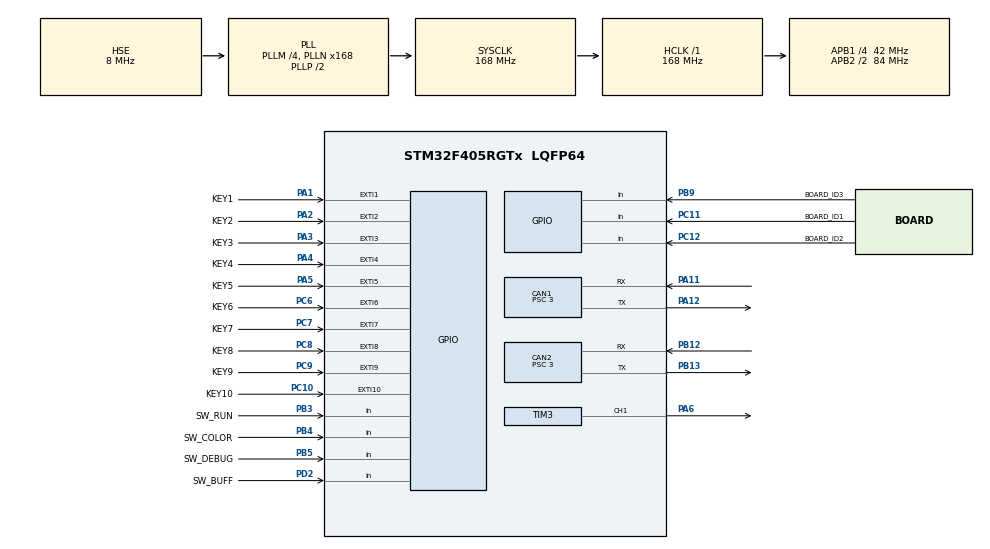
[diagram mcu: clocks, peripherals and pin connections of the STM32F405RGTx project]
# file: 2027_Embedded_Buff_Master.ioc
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CAN1.ABOM=ENABLE
CAN1.BS1=CAN_BS1_10TQ
CAN1.BS2=CAN_BS2_3TQ
CAN1.CalculateBaudRate=1000000
CAN1.CalculateTimeBit=1000
CAN1.CalculateTimeQuantum=71.42857142857143
CAN1.NART=ENABLE
CAN1.Prescaler=3
CAN2.ABOM=ENABLE
CAN2.BS1=CAN_BS1_10TQ
CAN2.BS2=CAN_BS2_3TQ
CAN2.CalculateBaudRate=1000000
CAN2.CalculateTimeBit=1000
CAN2.CalculateTimeQuantum=71.42857142857143
CAN2.NART=ENABLE
CAN2.Prescaler=3
Dma.Request0=TIM3_CH1/TRIG
Dma.TIM3_CH1/TRIG.0.Direction=DMA_MEMORY_TO_PERIPH
Dma.TIM3_CH1/TRIG.0.FIFOMode=DMA_FIFOMODE_DISABLE
Dma.TIM3_CH1/TRIG.0.Instance=DMA1_Stream4
Dma.TIM3_CH1/TRIG.0.MemDataAlignment=DMA_MDATAALIGN_HALFWORD
Dma.TIM3_CH1/TRIG.0.MemInc=DMA_MINC_ENABLE
Dma.TIM3_CH1/TRIG.0.Mode=DMA_NORMAL
Dma.TIM3_CH1/TRIG.0.PeriphDataAlignment=DMA_PDATAALIGN_HALFWORD
Dma.TIM3_CH1/TRIG.0.PeriphInc=DMA_PINC_DISABLE
Dma.TIM3_CH1/TRIG.0.Priority=DMA_PRIORITY_LOW
Mcu.Family=STM32F4
Mcu.Name=STM32F405RGTx
Mcu.Package=LQFP64
NVIC.CAN1_RX0_IRQn=true\:1\:0\:true\:false\:true\:true\:true\:true
NVIC.CAN2_RX0_IRQn=true\:1\:0\:true\:false\:true\:true\:true\:true
NVIC.DMA1_Stream4_IRQn=true\:5\:0\:true\:false\:true\:false\:true\:true
NVIC.EXTI15_10_IRQn=true\:3\:0\:true\:false\:true\:true\:true\:true
NVIC.EXTI1_IRQn=true\:3\:0\:true\:false\:true\:true\:true\:true
NVIC.EXTI2_IRQn=true\:3\:0\:true\:false\:true\:true\:true\:true
NVIC.EXTI3_IRQn=true\:3\:0\:true\:false\:true\:true\:true\:true
NVIC.EXTI4_IRQn=true\:3\:0\:true\:false\:true\:true\:true\:true
NVIC.EXTI9_5_IRQn=true\:3\:0\:true\:false\:true\:true\:true\:true
NVIC.PriorityGroup=NVIC_PRIORITYGROUP_4
NVIC.TIM6_DAC_IRQn=true\:2\:0\:true\:false\:true\:true\:true\:true
PA1.GPIO_Label=KEY1
PA1.GPIO_ModeDefaultEXTI=GPIO_MODE_IT_RISING_FALLING
PA1.Signal=GPXTI1
PA11.Mode=CAN_Activate
PA11.Signal=CAN1_RX
PA12.Mode=CAN_Activate
PA12.Signal=CAN1_TX
PA13.Mode=Serial_Wire
PA13.Signal=SYS_JTMS-SWDIO
PA14.Mode=Serial_Wire
PA14.Signal=SYS_JTCK-SWCLK
PA2.GPIO_Label=KEY2
PA2.GPIO_ModeDefaultEXTI=GPIO_MODE_IT_RISING_FALLING
PA2.Signal=GPXTI2
PA3.GPIO_Label=KEY3
PA3.GPIO_ModeDefaultEXTI=GPIO_MODE_IT_RISING_FALLING
PA3.Signal=GPXTI3
PA4.GPIO_Label=KEY4
PA4.GPIO_ModeDefaultEXTI=GPIO_MODE_IT_RISING_FALLING
PA4.Signal=GPXTI4
PA5.GPIO_Label=KEY5
PA5.GPIO_ModeDefaultEXTI=GPIO_MODE_IT_RISING_FALLING
PA5.Signal=GPXTI5
PA6.Signal=S_TIM3_CH1
PB12.Mode=CAN_Activate
PB12.Signal=CAN2_RX
PB13.Mode=CAN_Activate
PB13.Signal=CAN2_TX
PB3.GPIO_Label=SW_RUN
PB3.GPIO_PuPd=GPIO_PULLUP
PB3.Signal=GPIO_Input
PB4.GPIO_Label=SW_COLOR
PB4.GPIO_PuPd=GPIO_PULLUP
PB4.Signal=GPIO_Input
PB5.GPIO_Label=SW_DEBUG
PB5.GPIO_PuPd=GPIO_PULLUP
PB5.Signal=GPIO_Input
PB9.GPIO_Label=BOARD_ID3
PB9.Signal=GPIO_Input
PC10.GPIO_Label=KEY10
PC10.GPIO_ModeDefaultEXTI=GPIO_MODE_IT_RISING_FALLING
PC10.Signal=GPXTI10
PC11.GPIO_Label=BOARD_ID1
PC11.Signal=GPIO_Input
PC12.GPIO_Label=BOARD_ID2
PC12.Signal=GPIO_Input
PC6.GPIO_Label=KEY6
PC6.GPIO_ModeDefaultEXTI=GPIO_MODE_IT_RISING_FALLING
PC6.Signal=GPXTI6
PC7.GPIO_Label=KEY7
PC7.GPIO_ModeDefaultEXTI=GPIO_MODE_IT_RISING_FALLING
PC7.Signal=GPXTI7
PC8.GPIO_Label=KEY8
PC8.GPIO_ModeDefaultEXTI=GPIO_MODE_IT_RISING_FALLING
PC8.Signal=GPXTI8
PC9.GPIO_Label=KEY9
PC9.GPIO_ModeDefaultEXTI=GPIO_MODE_IT_RISING_FALLING
PC9.Signal=GPXTI9
PD2.GPIO_Label=SW_BUFF
PD2.GPIO_PuPd=GPIO_PULLUP
PD2.Signal=GPIO_Input
PH0-OSC_IN.Mode=HSE-External-Oscillator
PH0-OSC_IN.Signal=RCC_OSC_IN
PH1-OSC_OUT.Mode=HSE-External-Oscillator
PH1-OSC_OUT.Signal=RCC_OSC_OUT
ProjectManager.HeapSize=0x200
ProjectManager.StackSize=0x800
ProjectManager.TargetToolchain=MDK-ARM V5.32
RCC.48MHZClocksFreq_Value=48000000
RCC.AHBFreq_Value=168000000
RCC.APB1CLKDivider=RCC_HCLK_DIV4
RCC.APB1Freq_Value=42000000
RCC.APB1TimFreq_Value=84000000
RCC.APB2CLKDivider=RCC_HCLK_DIV2
RCC.APB2Freq_Value=84000000
RCC.APB2TimFreq_Value=168000000
RCC.CortexFreq_Value=168000000
RCC.HCLKFreq_Value=168000000
RCC.HSE_VALUE=8000000
RCC.HSI_VALUE=16000000
RCC.LSE_VALUE=32768
RCC.PLLM=4
RCC.PLLN=168
RCC.PLLQ=7
RCC.PLLSourceVirtual=RCC_PLLSOURCE_HSE
RCC.SYSCLKFreq_VALUE=168000000
RCC.SYSCLKSource=RCC_SYSCLKSOURCE_PLLCLK
RCC.VCOOutputFreq_Value=336000000
SH.S_TIM3_CH1.0=TIM3_CH1,PWM Generation1 CH1
TIM3.Channel-PWM\ Generation1\ CH1=TIM_CHANNEL_1
TIM3.Period=34
TIM3.Prescaler=2
TIM6.AutoReloadPreload=TIM_AUTORELOAD_PRELOAD_ENABLE
TIM6.Period=999
TIM6.Prescaler=83
VP_RNG_VS_RNG.Mode=RNG_Activate
VP_TIM3_VS_ClockSourceINT.Mode=Internal
VP_TIM6_VS_ClockSourceINT.Mode=Enable_Timer
board=custom

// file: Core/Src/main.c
/* USER CODE BEGIN Header */
/**
  ******************************************************************************
  * @file           : main.c
  * @brief          : Main program body
  ******************************************************************************
  * @attention
  *
  * Copyright (c) 2026 STMicroelectronics.
  * All rights reserved.
  *
  * This software is licensed under terms that can be found in the LICENSE file
  * in the root directory of this software component.
  * If no LICENSE file comes with this software, it is provided AS-IS.
  *
  ******************************************************************************
  */
/* USER CODE END Header */
#include "main.h"
#include "can.h"
#include "dma.h"
#include "rng.h"
#include "tim.h"
#include "gpio.h"

/* USER CODE BEGIN Includes */
#include <stdlib.h>
#include "bsp_ws2812.h"
#include "bsp_switch.h"
#include "bsp_can.h"
#include "bsp_rng.h"
#include "motor.h"
#include "buff.h"
#include "light.h"
/* USER CODE END Includes */

void SystemClock_Config(void);

int main(void)
{

  /* MCU Configuration--------------------------------------------------------*/

  /* Reset of all peripherals, Initializes the Flash interface and the Systick. */
  HAL_Init();

  /* Configure the system clock */
  SystemClock_Config();

  /* Initialize all configured peripherals */
  MX_GPIO_Init();
  MX_DMA_Init();
  MX_CAN1_Init();
  MX_RNG_Init();
  MX_TIM3_Init();
  MX_TIM6_Init();
  MX_CAN2_Init();
  /* USER CODE BEGIN 2 */
  /* 初始化序列(顺序见《代码架构设计》四.3):
     ①等 WS2812 供电稳 → ②各模块 init → ③最后启动 1ms 调度中断 */
  HAL_Delay(100);                   /* 等 WS2812 供电稳 */
  bsp_ws2812_init();
  bsp_switch_init();
  bsp_can_init();
  srand(bsp_rng_get_seed());
  motor_init();
  buff_init();
  light_init();
  HAL_TIM_Base_Start_IT(&htim6);    //中断调度开始
  /* USER CODE END 2 */

  /* Infinite loop */
  /* USER CODE BEGIN WHILE */
  while (1)
  {
    //__WFI();    /* 空转等中断: 调度全在 TIM6(主循环保持为空是架构纪律) */
    /* USER CODE END WHILE */

  }
}

void SystemClock_Config(void)
{
  RCC_OscInitTypeDef RCC_OscInitStruct = {0};
  RCC_ClkInitTypeDef RCC_ClkInitStruct = {0};

  /** Configure the main internal regulator output voltage
  */
  __HAL_RCC_PWR_CLK_ENABLE();
  __HAL_PWR_VOLTAGESCALING_CONFIG(PWR_REGULATOR_VOLTAGE_SCALE1);

  /** Initializes the RCC Oscillators according to the specified parameters
  * in the RCC_OscInitTypeDef structure.
  */
  RCC_OscInitStruct.OscillatorType = RCC_OSCILLATORTYPE_HSE;
  RCC_OscInitStruct.HSEState = RCC_HSE_ON;
  RCC_OscInitStruct.PLL.PLLState = RCC_PLL_ON;
  RCC_OscInitStruct.PLL.PLLSource = RCC_PLLSOURCE_HSE;
  RCC_OscInitStruct.PLL.PLLM = 4;
  RCC_OscInitStruct.PLL.PLLN = 168;
  RCC_OscInitStruct.PLL.PLLP = RCC_PLLP_DIV2;
  RCC_OscInitStruct.PLL.PLLQ = 7;
  if (HAL_RCC_OscConfig(&RCC_OscInitStruct) != HAL_OK)
  {
    Error_Handler();
  }

  /** Initializes the CPU, AHB and APB buses clocks
  */
  RCC_ClkInitStruct.ClockType = RCC_CLOCKTYPE_HCLK|RCC_CLOCKTYPE_SYSCLK
                              |RCC_CLOCKTYPE_PCLK1|RCC_CLOCKTYPE_PCLK2;
  RCC_ClkInitStruct.SYSCLKSource = RCC_SYSCLKSOURCE_PLLCLK;
  RCC_ClkInitStruct.AHBCLKDivider = RCC_SYSCLK_DIV1;
  RCC_ClkInitStruct.APB1CLKDivider = RCC_HCLK_DIV4;
  RCC_ClkInitStruct.APB2CLKDivider = RCC_HCLK_DIV2;

  if (HAL_RCC_ClockConfig(&RCC_ClkInitStruct, FLASH_LATENCY_5) != HAL_OK)
  {
    Error_Handler();
  }
}

void Error_Handler(void)
{
  __disable_irq();
  while (1)
  {
  }
}
